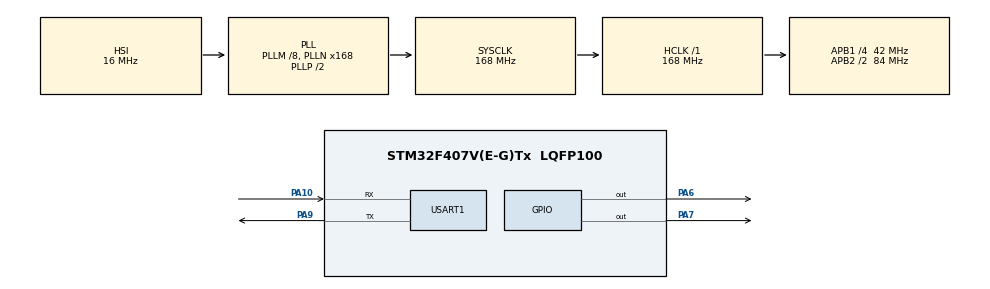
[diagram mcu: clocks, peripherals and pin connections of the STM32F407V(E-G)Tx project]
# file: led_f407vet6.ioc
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Mcu.Family=STM32F4
Mcu.Name=STM32F407V(E-G)Tx
Mcu.Package=LQFP100
NVIC.PriorityGroup=NVIC_PRIORITYGROUP_4
PA10.Mode=Asynchronous
PA10.Signal=USART1_RX
PA13.Mode=JTAG_4_pins
PA13.Signal=SYS_JTMS-SWDIO
PA14.Mode=JTAG_4_pins
PA14.Signal=SYS_JTCK-SWCLK
PA15.Mode=JTAG_4_pins
PA15.Signal=SYS_JTDI
PA6.GPIO_Speed=GPIO_SPEED_FREQ_VERY_HIGH
PA6.Signal=GPIO_Output
PA7.GPIO_Speed=GPIO_SPEED_FREQ_VERY_HIGH
PA7.Signal=GPIO_Output
PA9.Mode=Asynchronous
PA9.Signal=USART1_TX
PB3.Mode=JTAG_4_pins
PB3.Signal=SYS_JTDO-SWO
PC14-OSC32_IN.Mode=LSE-External-Oscillator
PC14-OSC32_IN.Signal=RCC_OSC32_IN
PC15-OSC32_OUT.Mode=LSE-External-Oscillator
PC15-OSC32_OUT.Signal=RCC_OSC32_OUT
PH0-OSC_IN.Mode=HSE-External-Oscillator
PH0-OSC_IN.Signal=RCC_OSC_IN
PH1-OSC_OUT.Mode=HSE-External-Oscillator
PH1-OSC_OUT.Signal=RCC_OSC_OUT
ProjectManager.HeapSize=0x200
ProjectManager.StackSize=0x400
ProjectManager.TargetToolchain=STM32CubeIDE
RCC.48MHZClocksFreq_Value=84000000
RCC.AHBFreq_Value=168000000
RCC.APB1CLKDivider=RCC_HCLK_DIV4
RCC.APB1Freq_Value=42000000
RCC.APB1TimFreq_Value=84000000
RCC.APB2CLKDivider=RCC_HCLK_DIV2
RCC.APB2Freq_Value=84000000
RCC.APB2TimFreq_Value=168000000
RCC.CortexFreq_Value=168000000
RCC.HCLKFreq_Value=168000000
RCC.HSE_VALUE=25000000
RCC.HSI_VALUE=16000000
RCC.PLLM=8
RCC.PLLN=168
RCC.SYSCLKFreq_VALUE=168000000
RCC.SYSCLKSource=RCC_SYSCLKSOURCE_PLLCLK
RCC.VCOOutputFreq_Value=336000000
USART1.VirtualMode=VM_ASYNC
board=custom

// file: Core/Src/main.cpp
/* USER CODE BEGIN Header */
/**
  ******************************************************************************
  * @file           : main.c
  * @brief          : Main program body
  ******************************************************************************
  * @attention
  *
  * <h2><center>&copy; Copyright (c) 2023 STMicroelectronics.
  * All rights reserved.</center></h2>
  *
  * This software component is licensed by ST under BSD 3-Clause license,
  * the "License"; You may not use this file except in compliance with the
  * License. You may obtain a copy of the License at:
  *                        opensource.org/licenses/BSD-3-Clause
  *
  ******************************************************************************
  */
/* USER CODE END Header */
#include "main.h"

/* USER CODE BEGIN Includes */

#include "HardwareSerial.hpp"
/* USER CODE END Includes */

UART_HandleTypeDef huart1;

/* USER CODE BEGIN PV */
HardwareSerial Serial(&huart1);
/* USER CODE END PV */

void SystemClock_Config(void);
static void MX_GPIO_Init(void);
static void MX_USART1_UART_Init(void);

int main(void)
{

  /* MCU Configuration--------------------------------------------------------*/

  /* Reset of all peripherals, Initializes the Flash interface and the Systick. */
  HAL_Init();

  /* Configure the system clock */
  SystemClock_Config();

  /* Initialize all configured peripherals */
  MX_GPIO_Init();
  MX_USART1_UART_Init();

  /* Infinite loop */
  /* USER CODE BEGIN WHILE */
  int counter = 0;
  Serial.begin(115200);
  while (1)
  {
	  Serial.println("Hello");
	  Serial.print("counter: ");
	  Serial.println(counter++);
	  Serial.print("float: ");
	  Serial.println(counter/5.00);

	  while(Serial.available() <= 0);
	  if(Serial.available() > 0)
	  {

		  char data_[20];
		  for(int i=0;i<20;i++)
		  {
		  	  data_[i] = Serial.read();
		  }
		  Serial.print("data recieved in char: ");
		  for(int i=0;i<20;i++)
		  {
			  Serial.print(data_[i]);
		  }
		  Serial.println();

		  Serial.println("different methods to print arrays: ");
		  Serial.println();

		  char bytes [] = {0x22,0x55,0x32,0x98};

		  Serial.print("HEX: ");
		  for(int i=0;i<sizeof(bytes);i++)
		  {
			  Serial.print(bytes[i],HEX);
			  Serial.print((i < (sizeof(bytes)-1)) ? " , " : "\n");
		  }

		  Serial.println();

		  Serial.print("DEC: ");
		  for(int i=0;i<sizeof(bytes);i++)
		  {
			  Serial.print(bytes[i],DEC);
			  Serial.print((i < (sizeof(bytes)-1)) ? " , " : "\n");
		  }

		  Serial.println();

		  Serial.print("BIN: ");
		  for(int i=0;i<sizeof(bytes);i++)
		  {
			  Serial.print(bytes[i],BIN);
			  Serial.print((i < (sizeof(bytes)-1)) ? " , " : "\n");
		  }

		  Serial.println();
	  }

	  while(Serial.available() <= 0);
		  string data__ = Serial.readString();
		  Serial.print("data: ");
		  Serial.println(data__);
    /* USER CODE END WHILE */

  }
}

void SystemClock_Config(void)
{
  RCC_OscInitTypeDef RCC_OscInitStruct = {0};
  RCC_ClkInitTypeDef RCC_ClkInitStruct = {0};

  /** Configure the main internal regulator output voltage
  */
  __HAL_RCC_PWR_CLK_ENABLE();
  __HAL_PWR_VOLTAGESCALING_CONFIG(PWR_REGULATOR_VOLTAGE_SCALE1);
  /** Initializes the RCC Oscillators according to the specified parameters
  * in the RCC_OscInitTypeDef structure.
  */
  RCC_OscInitStruct.OscillatorType = RCC_OSCILLATORTYPE_HSI;
  RCC_OscInitStruct.HSIState = RCC_HSI_ON;
  RCC_OscInitStruct.HSICalibrationValue = RCC_HSICALIBRATION_DEFAULT;
  RCC_OscInitStruct.PLL.PLLState = RCC_PLL_ON;
  RCC_OscInitStruct.PLL.PLLSource = RCC_PLLSOURCE_HSI;
  RCC_OscInitStruct.PLL.PLLM = 8;
  RCC_OscInitStruct.PLL.PLLN = 168;
  RCC_OscInitStruct.PLL.PLLP = RCC_PLLP_DIV2;
  RCC_OscInitStruct.PLL.PLLQ = 4;
  if (HAL_RCC_OscConfig(&RCC_OscInitStruct) != HAL_OK)
  {
    Error_Handler();
  }
  /** Initializes the CPU, AHB and APB buses clocks
  */
  RCC_ClkInitStruct.ClockType = RCC_CLOCKTYPE_HCLK|RCC_CLOCKTYPE_SYSCLK
                              |RCC_CLOCKTYPE_PCLK1|RCC_CLOCKTYPE_PCLK2;
  RCC_ClkInitStruct.SYSCLKSource = RCC_SYSCLKSOURCE_PLLCLK;
  RCC_ClkInitStruct.AHBCLKDivider = RCC_SYSCLK_DIV1;
  RCC_ClkInitStruct.APB1CLKDivider = RCC_HCLK_DIV4;
  RCC_ClkInitStruct.APB2CLKDivider = RCC_HCLK_DIV2;

  if (HAL_RCC_ClockConfig(&RCC_ClkInitStruct, FLASH_LATENCY_5) != HAL_OK)
  {
    Error_Handler();
  }
}

static void MX_USART1_UART_Init(void)
{

  huart1.Instance = USART1;
  huart1.Init.BaudRate = 115200;
  huart1.Init.WordLength = UART_WORDLENGTH_8B;
  huart1.Init.StopBits = UART_STOPBITS_1;
  huart1.Init.Parity = UART_PARITY_NONE;
  huart1.Init.Mode = UART_MODE_TX_RX;
  huart1.Init.HwFlowCtl = UART_HWCONTROL_NONE;
  huart1.Init.OverSampling = UART_OVERSAMPLING_16;
  if (HAL_UART_Init(&huart1) != HAL_OK)
  {
    Error_Handler();
  }

}

static void MX_GPIO_Init(void)
{
  GPIO_InitTypeDef GPIO_InitStruct = {0};

  /* GPIO Ports Clock Enable */
  __HAL_RCC_GPIOC_CLK_ENABLE();
  __HAL_RCC_GPIOH_CLK_ENABLE();
  __HAL_RCC_GPIOA_CLK_ENABLE();
  __HAL_RCC_GPIOB_CLK_ENABLE();

  /*Configure GPIO pin Output Level */
  HAL_GPIO_WritePin(GPIOA, GPIO_PIN_6|GPIO_PIN_7, GPIO_PIN_RESET);

  /*Configure GPIO pins : PA6 PA7 */
  GPIO_InitStruct.Pin = GPIO_PIN_6|GPIO_PIN_7;
  GPIO_InitStruct.Mode = GPIO_MODE_OUTPUT_PP;
  GPIO_InitStruct.Pull = GPIO_NOPULL;
  GPIO_InitStruct.Speed = GPIO_SPEED_FREQ_VERY_HIGH;
  HAL_GPIO_Init(GPIOA, &GPIO_InitStruct);

}

void Error_Handler(void)
{
  __disable_irq();
  while (1)
  {
  }
}

/************************ (C) COPYRIGHT STMicroelectronics *****END OF FILE****/
